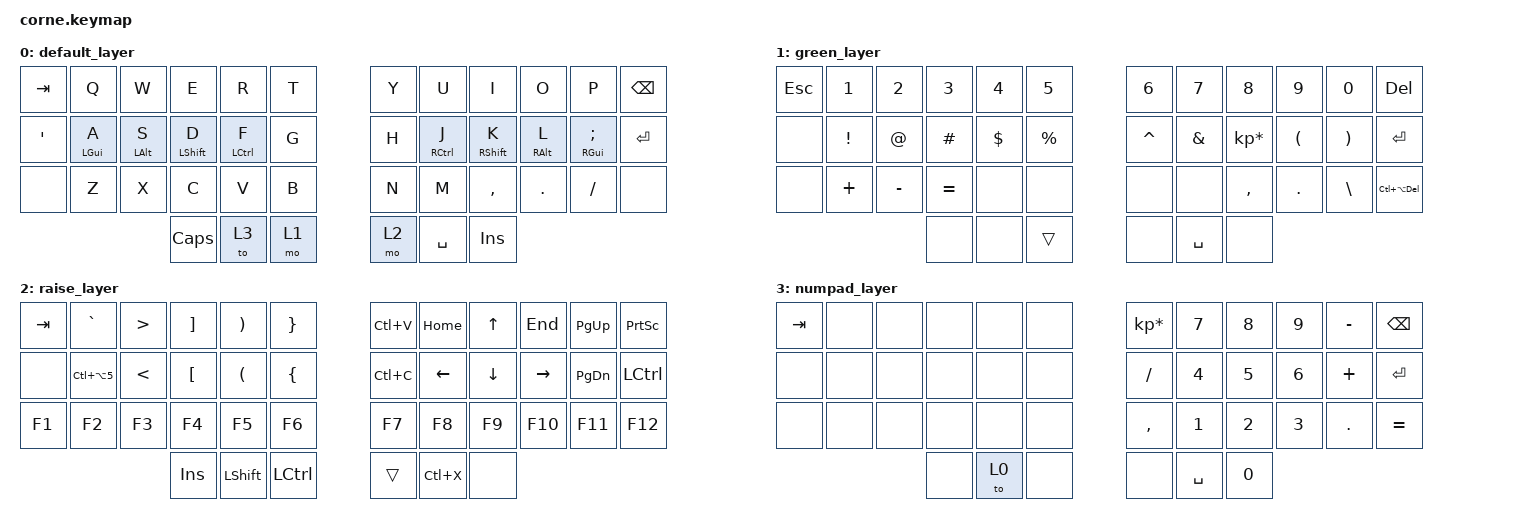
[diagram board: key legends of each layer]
/*
 * Copyright (c) 2020 The ZMK Contributors
 *
 * SPDX-License-Identifier: MIT
 */

#include <behaviors.dtsi>
#include <dt-bindings/zmk/keys.h>
#include <dt-bindings/zmk/bt.h>

/ {
        combos {
            compatible = "zmk,combos";

            combo_btclr {
                timeout-ms = <50>;
                key-positions = <5 29>;
                bindings = <&bt BT_CLR>;
            };
            combo_bt1 {
                timeout-ms = <50>;
                key-positions = <0 24>;
                bindings = <&bt BT_SEL 0>;
            };
            combo_bt2 {
                timeout-ms = <50>;
                key-positions = <1 25>;
                bindings = <&bt BT_SEL 1>;
            };
            combo_bt3 {
                timeout-ms = <50>;
                key-positions = <2 26>;
                bindings = <&bt BT_SEL 2>;
            };
            combo_bt4 {
                timeout-ms = <50>;
                key-positions = <3 27>;
                bindings = <&bt BT_SEL 3>;
            };
            combo_bt5 {
                timeout-ms = <50>;
                key-positions = <4 28>;
                bindings = <&bt BT_SEL 4>;
            };
        };

        behaviors {
            hm: homerow_mods {
                compatible = "zmk,behavior-hold-tap";
                label = "HOMEROW_MODS";
                #binding-cells = <2>;
                tapping-term-ms = <250>;
                quick_tap_ms = <0>;
                flavor = "tap-preferred";
                bindings = <&kp>, <&kp>;
            };
        };

        keymap {
                compatible = "zmk,keymap";

                default_layer {
// -----------------------------------------------------------------------------------------
// |  TAB |  Q  |  W  |  E  |  R  |  T  |   |  Y  |  U   |  I  |  O  |  P  | BKSP |
// |   '  |  A  |  S  |  D  |  F  |  G  |   |  H  |  J   |  K  |  L  |  ;  | ENT  |
// |      |  Z  |  X  |  C  |  V  |  B  |   |  N  |  M   |  ,  |  .  |  /  |      |
//                    | CAPS| to3 | LWR |   | RSE | SPC  | INS |
                        bindings = <
   &kp TAB  &kp Q      &kp W      &kp E        &kp R       &kp T &kp Y &kp U       &kp I       &kp O      &kp P         &kp BSPC
   &kp SQT  &hm LGUI A &hm LALT S &hm LSHFT D  &hm LCTRL F &kp G &kp H &hm RCTRL J &hm RSHFT K &hm RALT L &hm RGUI SEMI &kp RET
   &none    &kp Z      &kp X      &kp C        &kp V       &kp B &kp N &kp M       &kp COMMA   &kp DOT    &kp FSLH      &none
                                  &kp CAPS     &to 3       &mo 1 &mo 2 &kp SPACE   &kp INS
                        >;
                };

                green_layer {
// -----------------------------------------------------------------------------------------
// |  ESC |  1  |  2  |  3  |  4  |  5  |   |  6  |  7  |  8  |  9  |  0  |  DEL  |
// |      |  !  |  @  |  #  |  $  |  %  |   |  ^  |  &  |  *  |  (  |  )  |  ENT  |
// |      |  +  |  -  |  =  |     |     |   |     |     |  ,  |  .  |  \  | C/A/D |
//                    | CAPS|     | trs |   |     | SPC |     |
                        bindings = <
   &kp ESC &kp N1   &kp N2    &kp N3    &kp N4    &kp N5    &kp N6    &kp N7    &kp N8          &kp N9    &kp N0   &kp DEL
   &none   &kp EXCL &kp AT    &kp HASH  &kp DLLR  &kp PRCNT &kp CARET &kp AMPS  &kp KP_MULTIPLY &kp LPAR  &kp RPAR &kp RET
   &none   &kp PLUS &kp MINUS &kp EQUAL &none     &none     &none     &none     &kp COMMA       &kp DOT   &kp BSLH &kp LC(LA(DEL))
                              &none     &none     &trans    &none     &kp SPACE &none
                        >;
                };

                raise_layer {
// -----------------------------------------------------------------------------------------
// |  TAB | GRAVE |  >   |  ]   |  )   |  }   |     |  paste |  home  |  up   |  end    |  pgup  | prtsc |
// |      | EURO  |  <   |  [   |  (   |  {   |     |  copy  |  left  |  down |  right  |  pgdn  | lctrl |
// |  F1  |  F2   |  F3  |  F4  |  F5  |  F6  |     |  F7    |  F8    |  F9   |  F10    |  F11   |  F12  |
//                       | INS  | SHFT |  CTR |     |  trans |  cut   |       |
                        bindings = <
   &kp TAB &kp GRAVE      &kp GT &kp RBKT  &kp RPAR  &kp RBRC  &kp LC(V) &kp HOME  &kp UP    &kp END   &kp PG_UP &kp PSCRN
   &none   &kp LC(LA(N5)) &kp LT &kp LBKT  &kp LPAR  &kp LBRC  &kp LC(C) &kp LEFT  &kp DOWN  &kp RIGHT &kp PG_DN &kp LCTRL
   &kp F1  &kp F2         &kp F3 &kp F4    &kp F5    &kp F6    &kp F7    &kp F8    &kp F9    &kp F10   &kp F11   &kp F12
                                 &kp INS   &kp LSHFT &kp LCTRL &trans    &kp LC(X) &none
                        >;
                };

                numpad_layer {
// -----------------------------------------------------------------------------------------
// |  TAB |      |    |     |     |     |     |  *  |  7  |  8  |  9  |  -  | BKSP |
// |      |      |    |     |     |     |     |  /  |  4  |  5  |  6  |  +  | ENT  |
// |      |      |    |     |     |     |     |  ,  |  1  |  2  |  3  |  .  |  =   |
//                    |     |     |     |     |     | SPC |  0  |
                        bindings = <
   &kp TAB &none  &none &none  &none  &none  &kp KP_MULTIPLY &kp N7    &kp N8 &kp N9 &kp MINUS &kp BSPC
   &none   &none  &none &none  &none  &none  &kp FSLH        &kp N4    &kp N5 &kp N6 &kp PLUS  &kp RET
   &none   &none  &none &none  &none  &none  &kp COMMA       &kp N1    &kp N2 &kp N3 &kp DOT   &kp EQUAL
                        &none  &to 0  &none  &none           &kp SPACE &kp N0
                        >;
                };
        };
};

